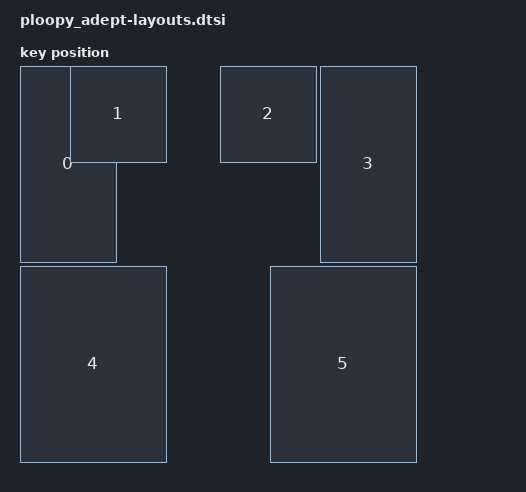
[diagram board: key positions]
#include <physical_layouts.dtsi>

/ {
    physical_layout0: physical_layout_0 {
        compatible = "zmk,physical-layout";
        display-name = "Default Layout";

        keys  //                     w   h    x    y     rot    rx    ry
            = <&key_physical_attrs 200 400    0    0       0     0     0>
            , <&key_physical_attrs 200 200  100    0       0     0     0>
            , <&key_physical_attrs 200 200  400    0       0     0     0>
            , <&key_physical_attrs 200 400  600    0       0     0     0>

            , <&key_physical_attrs 300 400    0  400       0     0     0>
            , <&key_physical_attrs 300 400  500  400       0     0     0>
            ;
    };
};
